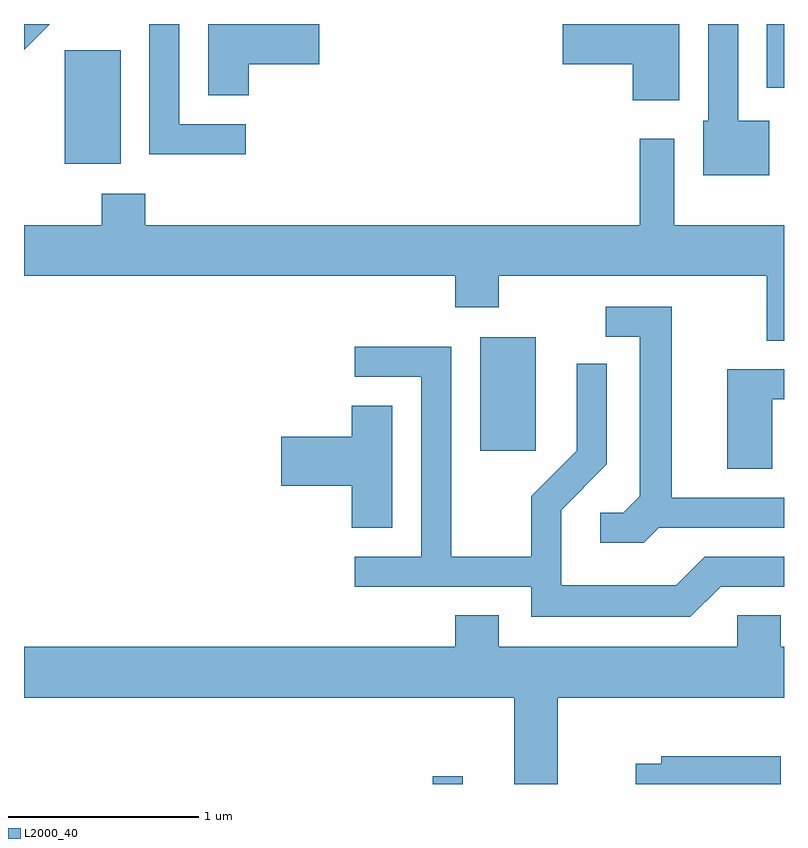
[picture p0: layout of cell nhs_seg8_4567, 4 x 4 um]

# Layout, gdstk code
import gdstk
lib = gdstk.Library(unit=1e-6, precision=1e-09)
def R(c, l, rs):  # rectangles x0, y0, x1, y1
    for r in rs: c.add(gdstk.rectangle(r[:2], r[2:], *l))
def P(c, l, *ps):  # polygons
    for p in ps: c.add(gdstk.Polygon(p, *l))
L2000_40 = (2000, 40)

nhs_seg8_4567 = lib.new_cell('nhs_seg8_4567')
R(nhs_seg8_4567, L2000_40, [(323.761,1900.342,323.919,1900.383), (324.011,1902.096,324.304,1902.694), (321.826,1903.606,322.119,1904.204), (325.521,1904.006,325.611,1904.342)])
P(nhs_seg8_4567, L2000_40, [(325.059,1904.342),(324.446,1904.342),(324.446,1904.131),(324.816,1904.131),(324.816,1903.941),(325.059,1903.941)],
  [(325.534,1903.834),(325.369,1903.834),(325.369,1904.342),(325.211,1904.342),(325.211,1903.834),(325.186,1903.834),(325.186,1903.546),(325.534,1903.546)],
  [(321.747,1904.342),(321.611,1904.342),(321.611,1904.206)],
  [(322.778,1903.814),(322.429,1903.814),(322.429,1904.342),(322.271,1904.342),(322.271,1903.656),(322.778,1903.656)],
  [(322.794,1904.131),(323.164,1904.131),(323.164,1904.342),(322.581,1904.342),(322.581,1903.966),(322.794,1903.966)],
  [(325.611,1903.284),(325.034,1903.284),(325.034,1903.739),(324.851,1903.739),(324.851,1903.284),(322.249,1903.284),(322.249,1903.449),(322.021,1903.449),(322.021,1903.284),(321.611,1903.284),(321.611,1903.016),(323.881,1903.016),(323.881,1902.851),(324.109,1902.851),(324.109,1903.016),(325.521,1903.016),(325.521,1902.676),(325.611,1902.676)],
  [(324.952,1901.691),(325.611,1901.691),(325.611,1901.849),(325.019,1901.849),(325.019,1902.854),(324.673,1902.854),(324.673,1902.696),(324.851,1902.696),(324.851,1901.857),(324.764,1901.769),(324.643,1901.769),(324.643,1901.611),(324.872,1901.611)],
  [(325.277,1901.381),(325.611,1901.381),(325.611,1901.539),(325.194,1901.539),(325.044,1901.389),(324.439,1901.389),(324.439,1901.784),(324.679,1902.024),(324.679,1902.553),(324.521,1902.553),(324.521,1902.097),(324.281,1901.857),(324.281,1901.539),(323.859,1901.539),(323.859,1902.644),(323.353,1902.644),(323.353,1902.486),(323.701,1902.486),(323.701,1901.539),(323.353,1901.539),(323.353,1901.381),(324.281,1901.381),(324.281,1901.221),(325.117,1901.221)],
  [(325.549,1902.366),(325.611,1902.366),(325.611,1902.524),(325.311,1902.524),(325.311,1902.001),(325.549,1902.001)],
  [(323.549,1902.334),(323.336,1902.334),(323.336,1902.169),(322.966,1902.169),(322.966,1901.911),(323.336,1901.911),(323.336,1901.691),(323.549,1901.691)],
  [(324.419,1900.796),(325.611,1900.796),(325.611,1901.064),(325.594,1901.064),(325.594,1901.229),(325.366,1901.229),(325.366,1901.064),(324.109,1901.064),(324.109,1901.229),(323.881,1901.229),(323.881,1901.064),(321.611,1901.064),(321.611,1900.796),(324.191,1900.796),(324.191,1900.342),(324.419,1900.342)],
  [(325.594,1900.489),(324.966,1900.489),(324.966,1900.449),(324.831,1900.449),(324.831,1900.342),(325.594,1900.342)])

lib.write_gds('nhs_seg8_4567.gds')
